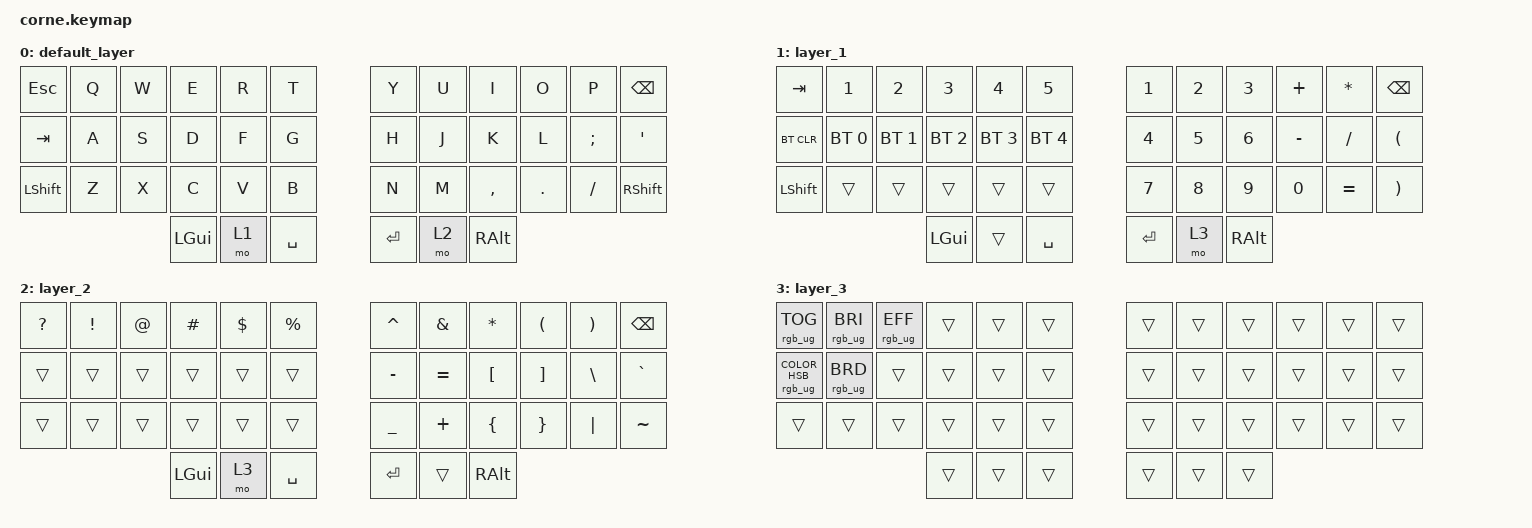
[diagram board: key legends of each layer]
/*
 * Copyright (c) 2020 The ZMK Contributors
 *
 * SPDX-License-Identifier: MIT
 */

#include <behaviors.dtsi>
#include <dt-bindings/zmk/bt.h>
#include <dt-bindings/zmk/keys.h>
#include <dt-bindings/zmk/rgb.h>

/ {
    keymap {
        compatible = "zmk,keymap";

        default_layer {
            // -----------------------------------------------------------------------------------------
            // |  TAB |  Q  |  W  |  E  |  R  |  T  |   |  Y  |  U   |  I  |  O  |  P  | BSPC |
            // | CTRL |  A  |  S  |  D  |  F  |  G  |   |  H  |  J   |  K  |  L  |  ;  |  '   |
            // | SHFT |  Z  |  X  |  C  |  V  |  B  |   |  N  |  M   |  ,  |  .  |  /  | ESC  |
            //                    | GUI | LWR | SPC |   | ENT | RSE  | ALT |

            bindings = <
&kp ESCAPE  &kp Q  &kp W  &kp E     &kp R  &kp T        &kp Y    &kp U  &kp I      &kp O    &kp P     &kp BSPC
&kp TAB     &kp A  &kp S  &kp D     &kp F  &kp G        &kp H    &kp J  &kp K      &kp L    &kp SEMI  &kp SQT
&kp LSHFT   &kp Z  &kp X  &kp C     &kp V  &kp B        &kp N    &kp M  &kp COMMA  &kp DOT  &kp FSLH  &kp RIGHT_SHIFT
                          &kp LGUI  &mo 1  &kp SPACE    &kp RET  &mo 2  &kp RALT
            >;
        };

        layer_1 {
            // -----------------------------------------------------------------------------------------
            // |  TAB |  1  |  2  |  3  |  4  |  5  |   |  6  |  7  |  8  |  9  |  0  | BSPC |
            // | BTCLR| BT1 | BT2 | BT3 | BT4 | BT5 |   | LFT | DWN |  UP | RGT |     |      |
            // | SHFT |     |     |     |     |     |   |     |     |     |     |     |      |
            //                    | GUI |     | SPC |   | ENT |     | ALT |

            bindings = <
&kp TAB     &kp N1        &kp N2        &kp N3        &kp N4        &kp N5          &kp NUMBER_1  &kp NUMBER_2  &kp NUMBER_3  &kp PLUS      &kp ASTERISK  &kp BSPC
&bt BT_CLR  &bt BT_SEL 0  &bt BT_SEL 1  &bt BT_SEL 2  &bt BT_SEL 3  &bt BT_SEL 4    &kp NUMBER_4  &kp NUMBER_5  &kp NUMBER_6  &kp MINUS     &kp SLASH     &kp LEFT_PARENTHESIS
&kp LSHFT   &trans        &trans        &trans        &trans        &trans          &kp NUMBER_7  &kp NUMBER_8  &kp NUMBER_9  &kp NUMBER_0  &kp EQUAL     &kp RIGHT_PARENTHESIS
                                        &kp LGUI      &trans        &kp SPACE       &kp RET       &mo 3         &kp RALT
            >;
        };

        layer_2 {
            // -----------------------------------------------------------------------------------------
            // |  TAB |  !  |  @  |  #  |  $  |  %  |   |  ^  |  &  |  *  |  (  |  )  | BSPC |
            // | CTRL |     |     |     |     |     |   |  -  |  =  |  [  |  ]  |  \  |  `   |
            // | SHFT |     |     |     |     |     |   |  _  |  +  |  {  |  }  | "|" |  ~   |
            //                    | GUI |     | SPC |   | ENT |     | ALT |

            bindings = <
&kp QUESTION  &kp EXCL  &kp AT  &kp HASH  &kp DLLR  &kp PRCNT    &kp CARET  &kp AMPS   &kp ASTRK  &kp LPAR  &kp RPAR  &kp BSPC
&trans        &trans    &trans  &trans    &trans    &trans       &kp MINUS  &kp EQUAL  &kp LBKT   &kp RBKT  &kp BSLH  &kp GRAVE
&trans        &trans    &trans  &trans    &trans    &trans       &kp UNDER  &kp PLUS   &kp LBRC   &kp RBRC  &kp PIPE  &kp TILDE
                                &kp LGUI  &mo 3     &kp SPACE    &kp RET    &trans     &kp RALT
            >;
        };

        layer_3 {
            bindings = <
&rgb_ug RGB_TOG                  &rgb_ug RGB_BRI  &rgb_ug RGB_EFF  &trans  &trans  &trans    &trans  &trans  &trans  &trans  &trans  &trans
&rgb_ug RGB_COLOR_HSB(38,0,100)  &rgb_ug RGB_BRD  &trans           &trans  &trans  &trans    &trans  &trans  &trans  &trans  &trans  &trans
&trans                           &trans           &trans           &trans  &trans  &trans    &trans  &trans  &trans  &trans  &trans  &trans
                                                                   &trans  &trans  &trans    &trans  &trans  &trans
            >;
        };
    };
};
